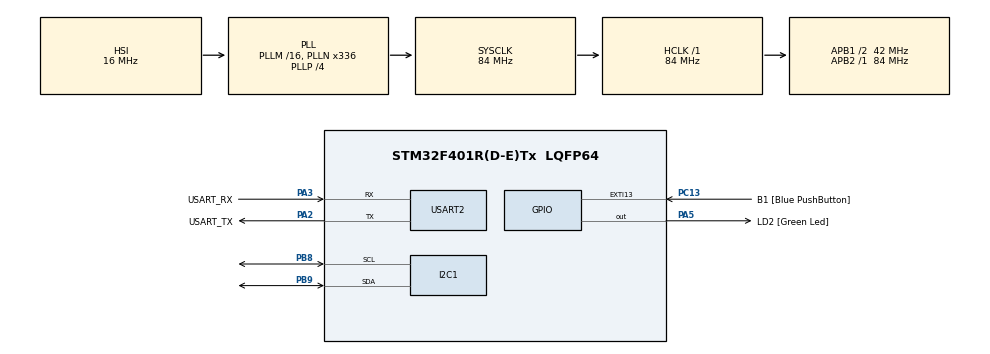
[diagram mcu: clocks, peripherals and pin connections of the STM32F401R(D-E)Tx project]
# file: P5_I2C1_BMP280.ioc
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Mcu.Family=STM32F4
Mcu.Name=STM32F401R(D-E)Tx
Mcu.Package=LQFP64
NVIC.PriorityGroup=NVIC_PRIORITYGROUP_4
PA13.GPIO_Label=TMS
PA13.Mode=Trace_Asynchronous_SW
PA13.Signal=SYS_JTMS-SWDIO
PA14.GPIO_Label=TCK
PA14.Mode=Trace_Asynchronous_SW
PA14.Signal=SYS_JTCK-SWCLK
PA2.GPIO_Label=USART_TX
PA2.GPIO_Mode=GPIO_MODE_AF_PP
PA2.GPIO_PuPd=GPIO_NOPULL
PA2.GPIO_Speed=GPIO_SPEED_FREQ_LOW
PA2.Mode=Asynchronous
PA2.Signal=USART2_TX
PA3.GPIO_Label=USART_RX
PA3.GPIO_Mode=GPIO_MODE_AF_PP
PA3.GPIO_PuPd=GPIO_NOPULL
PA3.GPIO_Speed=GPIO_SPEED_FREQ_LOW
PA3.Mode=Asynchronous
PA3.Signal=USART2_RX
PA5.GPIO_Label=LD2 [Green Led]
PA5.GPIO_Mode=GPIO_MODE_OUTPUT_PP
PA5.GPIO_PuPd=GPIO_NOPULL
PA5.GPIO_Speed=GPIO_SPEED_FREQ_LOW
PA5.Signal=GPIO_Output
PB3.GPIO_Label=SWO
PB3.Mode=Trace_Asynchronous_SW
PB3.Signal=SYS_JTDO-SWO
PB8.Mode=I2C
PB8.Signal=I2C1_SCL
PB9.Mode=I2C
PB9.Signal=I2C1_SDA
PC13-ANTI_TAMP.GPIO_Label=B1 [Blue PushButton]
PC13-ANTI_TAMP.GPIO_ModeDefaultEXTI=GPIO_MODE_IT_FALLING
PC13-ANTI_TAMP.GPIO_PuPd=GPIO_NOPULL
PC13-ANTI_TAMP.Signal=GPXTI13
PC14-OSC32_IN.Mode=LSE-External-Oscillator
PC14-OSC32_IN.Signal=RCC_OSC32_IN
PC15-OSC32_OUT.Mode=LSE-External-Oscillator
PC15-OSC32_OUT.Signal=RCC_OSC32_OUT
PH0\ -\ OSC_IN.Mode=HSE-External-Clock-Source
PH0\ -\ OSC_IN.Signal=RCC_OSC_IN
PH1\ -\ OSC_OUT.Mode=HSE-External-Clock-Source
PH1\ -\ OSC_OUT.Signal=RCC_OSC_OUT
ProjectManager.HeapSize=0x200
ProjectManager.StackSize=0x400
ProjectManager.TargetToolchain=STM32CubeIDE
RCC.48MHZClocksFreq_Value=48000000
RCC.AHBFreq_Value=84000000
RCC.APB1CLKDivider=RCC_HCLK_DIV2
RCC.APB1Freq_Value=42000000
RCC.APB1TimFreq_Value=84000000
RCC.APB2Freq_Value=84000000
RCC.APB2TimFreq_Value=84000000
RCC.CortexFreq_Value=84000000
RCC.HCLKFreq_Value=84000000
RCC.HSE_VALUE=8000000
RCC.HSI_VALUE=16000000
RCC.PLLN=336
RCC.PLLP=RCC_PLLP_DIV4
RCC.PLLQ=7
RCC.SYSCLKFreq_VALUE=84000000
RCC.SYSCLKSource=RCC_SYSCLKSOURCE_PLLCLK
RCC.VCOOutputFreq_Value=336000000
USART2.VirtualMode=VM_ASYNC
board=NUCLEO-F401RE

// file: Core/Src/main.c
/* USER CODE BEGIN Header */
/**
  ******************************************************************************
  * @file           : main.c
  * @brief          : Main program body
  ******************************************************************************
  * @attention
  *
  * Copyright (c) 2025 STMicroelectronics.
  * All rights reserved.
  *
  * This software is licensed under terms that can be found in the LICENSE file
  * in the root directory of this software component.
  * If no LICENSE file comes with this software, it is provided AS-IS.
  *
  ******************************************************************************
  */
/* USER CODE END Header */
#include "main.h"
#include "i2c.h"
#include "usart.h"
#include "gpio.h"

/* USER CODE BEGIN Includes */
#include "bmp280.h"
#include "usart.h"
#include <stdio.h>
/* USER CODE END Includes */

void SystemClock_Config(void);

/* USER CODE BEGIN 0 */
int _write(int file, char *data, int len)
{
	HAL_UART_Transmit(&huart2, (uint8_t*)data, len, HAL_MAX_DELAY);
	return len;
}
/* USER CODE END 0 */

int main(void)
{

  /* MCU Configuration--------------------------------------------------------*/

  /* Reset of all peripherals, Initializes the Flash interface and the Systick. */
  HAL_Init();

  /* Configure the system clock */
  SystemClock_Config();

  /* Initialize all configured peripherals */
  MX_GPIO_Init();
  MX_USART2_UART_Init();
  MX_I2C1_Init();
  /* USER CODE BEGIN 2 */
   BMP280 s;
   if (BMP280_Init(&s, &hi2c1, 0) != HAL_OK) {
	   printf("BMP280 not found at 0x76/0x77\r\n");
	   while(1)
		   HAL_Delay(500);
   }
   printf("BMP280 found: addr=0x%02X id=0x%02X\r\n", s.dev_addr8 >> 1, s.chip_id);

   if (BMP280_ConfigureDefault(&s) != HAL_OK) {
	   printf("Configure failed\r\n");
   }
  /* USER CODE END 2 */

  /* Infinite loop */
  /* USER CODE BEGIN WHILE */
  while (1)
  {
	  uint32_t up, ut;
	  if (BMP280_ReadRaw(&s, &up, &ut) == HAL_OK) {
		  printf("RAW P=%lu  T=%lu\r\n", (unsigned long)up, (unsigned long)ut);
	  } else {
		  printf("Read error\r\n");
	  }
	  HAL_Delay(1000);
    /* USER CODE END WHILE */

  }
}

void SystemClock_Config(void)
{
  RCC_OscInitTypeDef RCC_OscInitStruct = {0};
  RCC_ClkInitTypeDef RCC_ClkInitStruct = {0};

  /** Configure the main internal regulator output voltage
  */
  __HAL_RCC_PWR_CLK_ENABLE();
  __HAL_PWR_VOLTAGESCALING_CONFIG(PWR_REGULATOR_VOLTAGE_SCALE2);

  /** Initializes the RCC Oscillators according to the specified parameters
  * in the RCC_OscInitTypeDef structure.
  */
  RCC_OscInitStruct.OscillatorType = RCC_OSCILLATORTYPE_HSI;
  RCC_OscInitStruct.HSIState = RCC_HSI_ON;
  RCC_OscInitStruct.HSICalibrationValue = RCC_HSICALIBRATION_DEFAULT;
  RCC_OscInitStruct.PLL.PLLState = RCC_PLL_ON;
  RCC_OscInitStruct.PLL.PLLSource = RCC_PLLSOURCE_HSI;
  RCC_OscInitStruct.PLL.PLLM = 16;
  RCC_OscInitStruct.PLL.PLLN = 336;
  RCC_OscInitStruct.PLL.PLLP = RCC_PLLP_DIV4;
  RCC_OscInitStruct.PLL.PLLQ = 7;
  if (HAL_RCC_OscConfig(&RCC_OscInitStruct) != HAL_OK)
  {
    Error_Handler();
  }

  /** Initializes the CPU, AHB and APB buses clocks
  */
  RCC_ClkInitStruct.ClockType = RCC_CLOCKTYPE_HCLK|RCC_CLOCKTYPE_SYSCLK
                              |RCC_CLOCKTYPE_PCLK1|RCC_CLOCKTYPE_PCLK2;
  RCC_ClkInitStruct.SYSCLKSource = RCC_SYSCLKSOURCE_PLLCLK;
  RCC_ClkInitStruct.AHBCLKDivider = RCC_SYSCLK_DIV1;
  RCC_ClkInitStruct.APB1CLKDivider = RCC_HCLK_DIV2;
  RCC_ClkInitStruct.APB2CLKDivider = RCC_HCLK_DIV1;

  if (HAL_RCC_ClockConfig(&RCC_ClkInitStruct, FLASH_LATENCY_2) != HAL_OK)
  {
    Error_Handler();
  }
}

void Error_Handler(void)
{
  __disable_irq();
  while (1)
  {
  }
}
